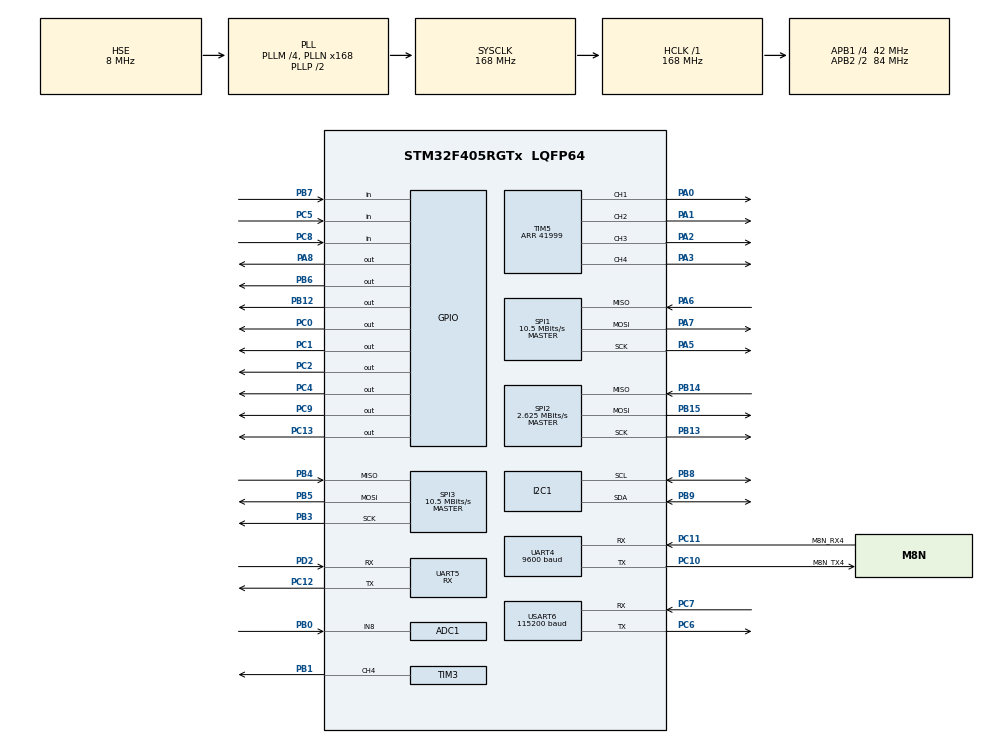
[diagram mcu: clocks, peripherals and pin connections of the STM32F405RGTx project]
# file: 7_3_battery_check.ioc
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ADC1.Channel-0\#ChannelRegularConversion=ADC_CHANNEL_8
ADC1.ClockPrescaler=ADC_CLOCK_SYNC_PCLK_DIV8
ADC1.ContinuousConvMode=ENABLE
ADC1.DMAContinuousRequests=ENABLE
ADC1.NbrOfConversionFlag=1
ADC1.Rank-0\#ChannelRegularConversion=1
ADC1.SamplingTime-0\#ChannelRegularConversion=ADC_SAMPLETIME_480CYCLES
ADC1.master=1
Dma.ADC1.0.Direction=DMA_PERIPH_TO_MEMORY
Dma.ADC1.0.FIFOMode=DMA_FIFOMODE_DISABLE
Dma.ADC1.0.Instance=DMA2_Stream0
Dma.ADC1.0.MemDataAlignment=DMA_MDATAALIGN_HALFWORD
Dma.ADC1.0.MemInc=DMA_MINC_DISABLE
Dma.ADC1.0.Mode=DMA_CIRCULAR
Dma.ADC1.0.PeriphDataAlignment=DMA_PDATAALIGN_HALFWORD
Dma.ADC1.0.PeriphInc=DMA_PINC_DISABLE
Dma.ADC1.0.Priority=DMA_PRIORITY_LOW
Dma.Request0=ADC1
I2C1.I2C_Mode=I2C_Fast
Mcu.Family=STM32F4
Mcu.Name=STM32F405RGTx
Mcu.Package=LQFP64
NVIC.DMA2_Stream0_IRQn=true\:0\:0\:false\:false\:true\:false\:true
NVIC.PriorityGroup=NVIC_PRIORITYGROUP_4
NVIC.UART4_IRQn=true\:0\:0\:false\:false\:true\:true\:true
NVIC.UART5_IRQn=true\:0\:0\:false\:false\:true\:true\:true
NVIC.USART6_IRQn=true\:0\:0\:false\:false\:true\:true\:true
PA0-WKUP.Signal=S_TIM5_CH1
PA1.Signal=S_TIM5_CH2
PA2.Signal=S_TIM5_CH3
PA3.Signal=S_TIM5_CH4
PA5.Mode=Full_Duplex_Master
PA5.Signal=SPI1_SCK
PA6.Mode=Full_Duplex_Master
PA6.Signal=SPI1_MISO
PA7.Mode=Full_Duplex_Master
PA7.Signal=SPI1_MOSI
PA8.Signal=GPIO_Output
PB0.Signal=ADCx_IN8
PB1.Signal=S_TIM3_CH4
PB12.Signal=GPIO_Output
PB13.Mode=Full_Duplex_Master
PB13.Signal=SPI2_SCK
PB14.Mode=Full_Duplex_Master
PB14.Signal=SPI2_MISO
PB15.Mode=Full_Duplex_Master
PB15.Signal=SPI2_MOSI
PB3.Mode=Full_Duplex_Master
PB3.Signal=SPI3_SCK
PB4.Mode=Full_Duplex_Master
PB4.Signal=SPI3_MISO
PB5.Mode=Full_Duplex_Master
PB5.Signal=SPI3_MOSI
PB6.Signal=GPIO_Output
PB7.Signal=GPIO_Input
PB8.Mode=I2C
PB8.Signal=I2C1_SCL
PB9.Mode=I2C
PB9.Signal=I2C1_SDA
PC0.Signal=GPIO_Output
PC1.Signal=GPIO_Output
PC10.GPIO_Label=M8N_TX4
PC10.Mode=Asynchronous
PC10.Signal=UART4_TX
PC11.GPIO_Label=M8N_RX4
PC11.Mode=Asynchronous
PC11.Signal=UART4_RX
PC12.Mode=Asynchronous
PC12.Signal=UART5_TX
PC13-ANTI_TAMP.PinState=GPIO_PIN_SET
PC13-ANTI_TAMP.Signal=GPIO_Output
PC2.Signal=GPIO_Output
PC4.Signal=GPIO_Output
PC5.Signal=GPIO_Input
PC6.Mode=Asynchronous
PC6.Signal=USART6_TX
PC7.Mode=Asynchronous
PC7.Signal=USART6_RX
PC8.Signal=GPIO_Input
PC9.Signal=GPIO_Output
PD2.Mode=Asynchronous
PD2.Signal=UART5_RX
PH0-OSC_IN.Mode=HSE-External-Oscillator
PH0-OSC_IN.Signal=RCC_OSC_IN
PH1-OSC_OUT.Mode=HSE-External-Oscillator
PH1-OSC_OUT.Signal=RCC_OSC_OUT
ProjectManager.HeapSize=0x200
ProjectManager.StackSize=0x400
ProjectManager.TargetToolchain=STM32CubeIDE
RCC.48MHZClocksFreq_Value=84000000
RCC.AHBFreq_Value=168000000
RCC.APB1CLKDivider=RCC_HCLK_DIV4
RCC.APB1Freq_Value=42000000
RCC.APB1TimFreq_Value=84000000
RCC.APB2CLKDivider=RCC_HCLK_DIV2
RCC.APB2Freq_Value=84000000
RCC.APB2TimFreq_Value=168000000
RCC.CortexFreq_Value=168000000
RCC.HCLKFreq_Value=168000000
RCC.HSE_VALUE=8000000
RCC.HSI_VALUE=16000000
RCC.LSE_VALUE=32768
RCC.PLLM=4
RCC.PLLN=168
RCC.PLLSourceVirtual=RCC_PLLSOURCE_HSE
RCC.SYSCLKFreq_VALUE=168000000
RCC.SYSCLKSource=RCC_SYSCLKSOURCE_PLLCLK
RCC.VCOOutputFreq_Value=336000000
SH.ADCx_IN8.0=ADC1_IN8,IN8
SH.S_TIM3_CH4.0=TIM3_CH4,PWM Generation4 CH4
SH.S_TIM5_CH1.0=TIM5_CH1,PWM Generation1 CH1
SH.S_TIM5_CH2.0=TIM5_CH2,PWM Generation2 CH2
SH.S_TIM5_CH3.0=TIM5_CH3,PWM Generation3 CH3
SH.S_TIM5_CH4.0=TIM5_CH4,PWM Generation4 CH4
SPI1.BaudRatePrescaler=SPI_BAUDRATEPRESCALER_8
SPI1.CLKPhase=SPI_PHASE_2EDGE
SPI1.CLKPolarity=SPI_POLARITY_HIGH
SPI1.CalculateBaudRate=10.5 MBits/s
SPI1.Direction=SPI_DIRECTION_2LINES
SPI1.Mode=SPI_MODE_MASTER
SPI1.VirtualType=VM_MASTER
SPI2.BaudRatePrescaler=SPI_BAUDRATEPRESCALER_16
SPI2.CLKPhase=SPI_PHASE_2EDGE
SPI2.CLKPolarity=SPI_POLARITY_HIGH
SPI2.CalculateBaudRate=2.625 MBits/s
SPI2.Direction=SPI_DIRECTION_2LINES
SPI2.Mode=SPI_MODE_MASTER
SPI2.VirtualType=VM_MASTER
SPI3.BaudRatePrescaler=SPI_BAUDRATEPRESCALER_4
SPI3.CLKPhase=SPI_PHASE_2EDGE
SPI3.CLKPolarity=SPI_POLARITY_HIGH
SPI3.CalculateBaudRate=10.5 MBits/s
SPI3.Direction=SPI_DIRECTION_2LINES
SPI3.Mode=SPI_MODE_MASTER
SPI3.VirtualType=VM_MASTER
TIM3.AutoReloadPreload=TIM_AUTORELOAD_PRELOAD_ENABLE
TIM3.Channel-PWM\ Generation4\ CH4=TIM_CHANNEL_4
TIM3.OCFastMode_PWM-PWM\ Generation4\ CH4=TIM_OCFAST_ENABLE
TIM3.Period=20
TIM3.Prescaler=999
TIM3.Pulse-PWM\ Generation4\ CH4=10
TIM5.AutoReloadPreload=TIM_AUTORELOAD_PRELOAD_ENABLE
TIM5.Channel-PWM\ Generation1\ CH1=TIM_CHANNEL_1
TIM5.Channel-PWM\ Generation2\ CH2=TIM_CHANNEL_2
TIM5.Channel-PWM\ Generation3\ CH3=TIM_CHANNEL_3
TIM5.Channel-PWM\ Generation4\ CH4=TIM_CHANNEL_4
TIM5.OCFastMode_PWM-PWM\ Generation1\ CH1=TIM_OCFAST_ENABLE
TIM5.OCFastMode_PWM-PWM\ Generation2\ CH2=TIM_OCFAST_ENABLE
TIM5.OCFastMode_PWM-PWM\ Generation3\ CH3=TIM_OCFAST_ENABLE
TIM5.OCFastMode_PWM-PWM\ Generation4\ CH4=TIM_OCFAST_ENABLE
TIM5.Period=41999
TIM5.Pulse-PWM\ Generation1\ CH1=0
TIM5.Pulse-PWM\ Generation2\ CH2=0
TIM5.Pulse-PWM\ Generation3\ CH3=0
UART4.BaudRate=9600
UART4.VirtualMode=Asynchronous
UART5.Mode=MODE_RX
UART5.VirtualMode=Asynchronous
USART6.BaudRate=115200
USART6.VirtualMode=VM_ASYNC
VP_TIM5_VS_ClockSourceINT.Mode=Internal
board=custom

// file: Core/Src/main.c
/* USER CODE BEGIN Header */
/**
 ******************************************************************************
 * @file           : main.c
 * @brief          : Main program body
 ******************************************************************************
 * @attention
 *
 * <h2><center>&copy; Copyright (c) 2020 STMicroelectronics.
 * All rights reserved.</center></h2>
 *
 * This software component is licensed by ST under BSD 3-Clause license,
 * the "License"; You may not use this file except in compliance with the
 * License. You may obtain a copy of the License at:
 *                        opensource.org/licenses/BSD-3-Clause
 *
 ******************************************************************************
 */
/* USER CODE END Header */

#include "main.h"
#include "adc.h"
#include "dma.h"
#include "i2c.h"
#include "spi.h"
#include "tim.h"
#include "usart.h"
#include "gpio.h"

/* USER CODE BEGIN Includes */
#include "BNO080.h"
#include "Quaternion.h"
#include "ICM20602.h"
#include "LPS22HH.h"
#include "M8N.h"
#include "FS_iA6B.h"
#include "AT24C08.h"

/* USER CODE END Includes */

/* USER CODE BEGIN PTD */
int _write(int file, char *p, int len) {
	for (int i = 0; i < len; i++) {
		while (!LL_USART_IsActiveFlag_TXE(USART6))
			;
		LL_USART_TransmitData8(USART6, *(p + i));
	}
	return len;
}
/* USER CODE END PTD */

/* USER CODE BEGIN PV */
extern uint8_t uart6_rx_flag;
extern uint8_t uart6_rx_data;
extern uint8_t m8n_rx_buf[36];
extern uint8_t m8n_rx_cplt_flag;
extern uint8_t ibus_rx_buf[32];
extern uint8_t ibus_rx_cplt_flag;

/* USER CODE END PV */

void SystemClock_Config(void);
/* USER CODE BEGIN PFP */
int Is_iBus_Throttle_Min(void);
void ESC_Calibration(void);
int Is_iBus_Received(void);
/* USER CODE END PFP */

int main(void)
{
	/* USER CODE BEGIN 1 */
	float q[4];
	float quatRadianAccuracy;
	unsigned char buf_read[16] = {1};
	unsigned char buf_write[16] = {1, 2, 3, 4, 5, 6, 7, 8, 9, 10, 11, 12, 13, 14, 15, 16};
	unsigned short adcVal;
	float batteryVolt;
	/* USER CODE END 1 */

	/* MCU Configuration--------------------------------------------------------*/

	/* Reset of all peripherals, Initializes the Flash interface and the Systick. */
	HAL_Init();

	/* Configure the system clock */
	SystemClock_Config();

	/* Initialize all configured peripherals */
	MX_GPIO_Init();
	MX_DMA_Init();
	MX_TIM3_Init();
	MX_USART6_UART_Init();
	MX_SPI2_Init();
	MX_SPI1_Init();
	MX_SPI3_Init();
	MX_UART4_Init();
	MX_UART5_Init();
	MX_TIM5_Init();
	MX_I2C1_Init();
	MX_ADC1_Init();
	/* USER CODE BEGIN 2 */
	LL_TIM_EnableCounter(TIM3);

	LL_USART_EnableIT_RXNE(USART6);
	LL_USART_EnableIT_RXNE(UART4);
	LL_USART_EnableIT_RXNE(UART5);

	BNO080_Initialization();
	BNO080_enableRotationVector(2500); //400Hz, maximum value describing in datasheet

	ICM20602_Initialization();
	LPS22HH_Initialization();
	M8N_Initialization();

	//TIM5 Initialization
	LL_TIM_EnableCounter(TIM5);
	LL_TIM_CC_EnableChannel(TIM5, LL_TIM_CHANNEL_CH1);
	LL_TIM_CC_EnableChannel(TIM5, LL_TIM_CHANNEL_CH2);
	LL_TIM_CC_EnableChannel(TIM5, LL_TIM_CHANNEL_CH3);
	LL_TIM_CC_EnableChannel(TIM5, LL_TIM_CHANNEL_CH4);

	HAL_ADC_Start_DMA(&hadc1, &adcVal, 1);

	//	adcVal = ADC1 -> DR;

	//	while(Is_iBus_Received() == 0) {
	//		LL_TIM_CC_EnableChannel(TIM3, LL_TIM_CHANNEL_CH4);
	//		TIM3->PSC = 3000;
	//		HAL_Delay(200);
	//		LL_TIM_CC_DisableChannel(TIM3, LL_TIM_CHANNEL_CH4);
	//		HAL_Delay(200);
	//	}

	//	if(iBus.SwC == 2000) {
	//		LL_TIM_CC_EnableChannel(TIM3, LL_TIM_CHANNEL_CH4);
	//		TIM3->PSC = 1500;
	//		HAL_Delay(200);
	//		TIM3->PSC = 4000;
	//		HAL_Delay(200);
	//		TIM3->PSC = 1500;
	//		HAL_Delay(200);
	//		TIM3->PSC = 4000;
	//		HAL_Delay(200);
	//		LL_TIM_CC_DisableChannel(TIM3, LL_TIM_CHANNEL_CH4);
	//
	//		ESC_Calibration();
	//		while(iBus.SwC != 1000) {
	//			Is_iBus_Received();
	//			LL_TIM_CC_EnableChannel(TIM3, LL_TIM_CHANNEL_CH4);
	//			TIM3->PSC = 1500;
	//			HAL_Delay(200);
	//			TIM3->PSC = 6000;
	//			HAL_Delay(200);
	//			LL_TIM_CC_DisableChannel(TIM3, LL_TIM_CHANNEL_CH4);
	//		}
	//	}

	//	while(Is_iBus_Throttle_Min() == 0) {
	//		LL_TIM_CC_EnableChannel(TIM3, LL_TIM_CHANNEL_CH4);
	//		TIM3->PSC = 1500;
	//		HAL_Delay(100);
	//		LL_TIM_CC_DisableChannel(TIM3, LL_TIM_CHANNEL_CH4);
	//		HAL_Delay(100);
	//	}

	//EEPROM Write
	EP_PIDGain_Write(0, 1.1, 2.2, 3.3);
	float p = 0.0, i = 0.0, d = 0.0;

	//EEPROM Read
	EP_PIDGain_Read(0, &p, &i, &d);
	printf("%f %f %f", p, i, d);

	LL_TIM_CC_EnableChannel(TIM3, LL_TIM_CHANNEL_CH4);
	TIM3->PSC = 6000;
	HAL_Delay(200);
	TIM3->PSC = 4000;
	HAL_Delay(100);
	TIM3->PSC = 4000;
	HAL_Delay(100);
	TIM3->PSC = 6000;
	HAL_Delay(200);
	//  TIM3 -> CCR4 = TIM3 -> ARR / 2;
	LL_TIM_CC_DisableChannel(TIM3, LL_TIM_CHANNEL_CH4);

	printf("Starts\n");

	/* USER CODE END 2 */

	/* Infinite loop */
	while (1) {

		/* USER CODE BEGIN 3 */
		batteryVolt = adcVal * 0.003619f;
		printf("%d\t%.2f\n", adcVal, batteryVolt);
		if (batteryVolt < 10.0f) {
			LL_TIM_CC_EnableChannel(TIM3, LL_TIM_CHANNEL_CH4);
			TIM3->PSC = 1500;
		}
		else {
			LL_TIM_CC_DisableChannel(TIM3, LL_TIM_CHANNEL_CH4);
		}
		HAL_Delay(100);

		//	  if (BNO080_dataAvailable() == 1) {
		//
		//		  LL_GPIO_TogglePin(GPIOC, LL_GPIO_PIN_0);
		//
		//		  q[0] = BNO080_getQuatI();
		//		  q[1] = BNO080_getQuatJ();
		//		  q[2] = BNO080_getQuatK();
		//		  q[3] = BNO080_getQuatReal();
		//		  quatRadianAccuracy = BNO080_getQuatRadianAccuracy();
		//
		//		  Quaternion_Update(&q[0]);
		////		  printf("%d\n", (int)(BNO080_Yaw * 100));
		//		  printf("%d,%d,%d\n", (int)(BNO080_Roll * 100), (int)(BNO080_Pitch * 100), (int)(BNO080_Yaw * 100));
		//
		//	  }
		//	  HAL_Delay(100);
		//	  if (ICM20602_DataReady() == 1) {
		////		  LL_GPIO_TogglePin(GPIOC, LL_GPIO_PIN_1);
		//		  ICM20602_Get3AxisGyroRawData(&ICM20602.gyro_x_raw);
		//		  ICM20602.gyro_x = ICM20602.gyro_x_raw * 2000.f / 32768.f;
		//		  ICM20602.gyro_y = ICM20602.gyro_y_raw * 2000.f / 32768.f;
		//		  ICM20602.gyro_z = ICM20602.gyro_z_raw * 2000.f / 32768.f;
		//		  printf("%d,%d,%d\n", ICM20602.gyro_x ,ICM20602.gyro_y, ICM20602.gyro_z);
		////		  printf("%d,%d,%d\n", (int)(ICM20602.gyro_x * 100), (int)(ICM20602.gyro_y * 100), (int)(ICM20602.gyro_z * 100));
		//	  }
		//	  if(LPS22HH_DataReady() == 1) {
		//		  LPS22HH_GetPressure(&LPS22HH.pressure_raw);
		//		  LPS22HH_GetTemperature(&LPS22HH.temperature_raw);
		//		  LPS22HH.baroAlt = getAltitude2(LPS22HH.pressure_raw/4096.f, LPS22HH.temperature_raw / 100.f);
		//#define X 0.99f
		//		  LPS22HH.baroAltFilt = LPS22HH.baroAltFilt * X + LPS22HH.baroAlt * (1.0f -X);
		//		  printf("%d,%d\n", (int)(LPS22HH.baroAlt * 100), (int)(LPS22HH.baroAltFilt * 100));
		//	  }
		//	  if(m8n_rx_cplt_flag == 1) {
		//		  m8n_rx_cplt_flag = 0;
		//		  if (M8N_UBX_CHKSUM_Check(&m8n_rx_buf[0], 36) == 1) {
		//			  LL_GPIO_TogglePin(GPIOC, LL_GPIO_PIN_2);
		//			  M8N_UBX_NAV_POSLLH_Parsing(&m8n_rx_buf[0], &posllh);
		//
		//			  printf("LAT: %ld\tLON: %ld\tHeight: %ld\n", posllh.lat, posllh.lon, posllh.height);
		//		  }
		//	  }
		//		if (ibus_rx_cplt_flag == 1) {
		//			ibus_rx_cplt_flag = 0;
		//			if (iBus_Check_CHECKSUM(&ibus_rx_buf[0], 32) == 1) {
		//				LL_GPIO_TogglePin(GPIOC, LL_GPIO_PIN_2);
		//
		//				iBus_Parsing(&ibus_rx_buf[0], &iBus);
		//				if (iBus_isActiveFailSafe(&iBus) == 1) {
		//					LL_TIM_CC_EnableChannel(TIM3, LL_TIM_CHANNEL_CH4);
		//				}
		//				else {
		//					LL_TIM_CC_DisableChannel(TIM3, LL_TIM_CHANNEL_CH4);
		//				}
		//				//				printf("%d\t%d\t%d\t%d\t%d\t%d\n", iBus.RH, iBus.RV, iBus.LV, iBus.LH, iBus.SwA, iBus.SwC);
		//				//				HAL_Delay(100);
		//			}
		//		}
		//		TIM5 -> CCR1 = 10500 + (iBus.LV - 1000) * 1.5;
		//		TIM5 -> CCR2 = 10500 + (iBus.LV - 1000) * 1.5;
		//		TIM5 -> CCR3 = 10500 + (iBus.LV - 1000) * 1.5;
		//		TIM5 -> CCR4 = 10500 + (iBus.LV - 1000) * 1.5;
		//		tim5_ccr4 += 10;
		//		if (tim5_ccr4 > 21000) tim5_ccr4 = 10500;
		//		TIM5->CCR4 = tim5_ccr4;
		//		HAL_Delay(1);

	}
	/* USER CODE END 3 */
}

void SystemClock_Config(void)
{
	RCC_OscInitTypeDef RCC_OscInitStruct = {0};
	RCC_ClkInitTypeDef RCC_ClkInitStruct = {0};

	/** Configure the main internal regulator output voltage
	 */
	__HAL_RCC_PWR_CLK_ENABLE();
	__HAL_PWR_VOLTAGESCALING_CONFIG(PWR_REGULATOR_VOLTAGE_SCALE1);
	/** Initializes the CPU, AHB and APB busses clocks
	 */
	RCC_OscInitStruct.OscillatorType = RCC_OSCILLATORTYPE_HSE;
	RCC_OscInitStruct.HSEState = RCC_HSE_ON;
	RCC_OscInitStruct.PLL.PLLState = RCC_PLL_ON;
	RCC_OscInitStruct.PLL.PLLSource = RCC_PLLSOURCE_HSE;
	RCC_OscInitStruct.PLL.PLLM = 4;
	RCC_OscInitStruct.PLL.PLLN = 168;
	RCC_OscInitStruct.PLL.PLLP = RCC_PLLP_DIV2;
	RCC_OscInitStruct.PLL.PLLQ = 4;
	if (HAL_RCC_OscConfig(&RCC_OscInitStruct) != HAL_OK)
	{
		Error_Handler();
	}
	/** Initializes the CPU, AHB and APB busses clocks
	 */
	RCC_ClkInitStruct.ClockType = RCC_CLOCKTYPE_HCLK|RCC_CLOCKTYPE_SYSCLK
			|RCC_CLOCKTYPE_PCLK1|RCC_CLOCKTYPE_PCLK2;
	RCC_ClkInitStruct.SYSCLKSource = RCC_SYSCLKSOURCE_PLLCLK;
	RCC_ClkInitStruct.AHBCLKDivider = RCC_SYSCLK_DIV1;
	RCC_ClkInitStruct.APB1CLKDivider = RCC_HCLK_DIV4;
	RCC_ClkInitStruct.APB2CLKDivider = RCC_HCLK_DIV2;

	if (HAL_RCC_ClockConfig(&RCC_ClkInitStruct, FLASH_LATENCY_5) != HAL_OK)
	{
		Error_Handler();
	}
}

/* USER CODE BEGIN 4 */
int Is_iBus_Throttle_Min(void) {
	if (ibus_rx_cplt_flag == 1) {
		ibus_rx_cplt_flag = 0;
		if (iBus_Check_CHECKSUM(&ibus_rx_buf[0], 32) == 1) {
			iBus_Parsing(&ibus_rx_buf[0], &iBus);
			if(iBus.LV < 1010) return 1;

		}
	}
	return 0;
}

void ESC_Calibration(void) {
	TIM5 -> CCR1 = 21000;
	TIM5 -> CCR2 = 21000;
	TIM5 -> CCR3 = 21000;
	TIM5 -> CCR4 = 21000;
	HAL_Delay(7000);
	TIM5 -> CCR1 = 10500;
	TIM5 -> CCR2 = 10500;
	TIM5 -> CCR3 = 10500;
	TIM5 -> CCR4 = 10500;
	HAL_Delay(8000);
}

int Is_iBus_Received(void) {
	if (ibus_rx_cplt_flag == 1) {
		ibus_rx_cplt_flag = 0;
		if (iBus_Check_CHECKSUM(&ibus_rx_buf[0], 32) == 1) {
			iBus_Parsing(&ibus_rx_buf[0], &iBus);
			return 1;
		}
	}
	return 0;
}

/* USER CODE END 4 */

void Error_Handler(void)
{
}

/************************ (C) COPYRIGHT STMicroelectronics *****END OF FILE****/
